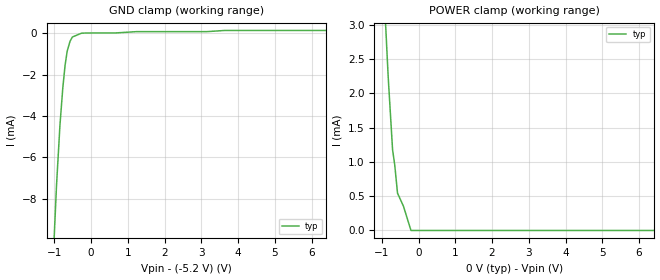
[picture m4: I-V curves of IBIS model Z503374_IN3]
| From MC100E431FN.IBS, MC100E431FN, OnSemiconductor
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| (C) COPYRIGHT 1993-2000
| MENTOR GRAPHICS CORPORATION
| ICX STANDARD LIBRARY, ICX PROJECT MODELING,
| ICX CUSTOM MODELING, ICX VENDOR MODEL
| ALL RIGHTS RESERVED.
| THE FOLLOWING ARE TRADEMARKS OR SERVICE MARKS OF
| MENTOR GRAPHICS CORPORATION:ICX (R), ICX STANDARD
| LIBRARY(R), ICX PROJECT MODELING(R), ICX CUSTOM
| MODELING(R), qualityIBIS(TM), MODELVIEWER(TM),
| AND MODELEDITOR(TM)
| ALL COPIES OF SOFTWARE, INCLUDING BUT NOT LIMITED TO
| ANY MODIFICATIONS, ENHANCEMENTS OR DERIVATIVE WORKS,
| MUST CONTAIN ALL MENTOR GRAPHICS CORPORATION'S
| NOTICES AND LEGENDS, INCLUDING THOSE EMBEDDED IN
| SOFTWARE AND THOSE AFFIXED TO SOFTWARE MEDIUM
| AND CONTAINER, AS RECEIVED FROM MENTOR GRAPHICS
| CORPORATION.
| Model Application Version 1.89 2/18/99.
[Model] Z503374_IN3
Model_type Input_ECL
Vinl = -1.475V
Vinh = -1.165V
C_comp 4.000pF NA NA
| variable typ   min   max
[Voltage Range] -5.200V NA NA
[GND Clamp Reference] -5.200V NA NA
[POWER Clamp Reference] 0.000V NA NA
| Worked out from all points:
|   GND clamp passes 1 mA (typ) near -0.66 V on its own axis
|   POWER clamp passes 1 mA (typ) near -0.66 V on its own axis
[GND Clamp]
-5.2V     -299.5mA   NA         NA
-1.035V   -11.19mA   NA         NA
-938mV    -7.349mA   NA         NA
-844mV    -4.413mA   NA         NA
-767mV    -2.629mA   NA         NA
-705mV    -1.535mA   NA         NA
-648mV    -851.9uA   NA         NA
-570mV    -375.2uA   NA         NA
-507mV    -170.6uA   NA         NA
-253.5mV  18.48uA    NA         NA
3.634V    146.8uA    NA         NA
10.4V     146.8uA    NA         NA
[POWER Clamp]
-5.2V     71.58mA    NA         NA
-1.005V   4.204mA    NA         NA
-825.3mV  2.24mA     NA         NA
-705.2mV  1.174mA    NA         NA
-646.5mV  954.2uA    NA         NA
-570.9mV  542.7uA    NA         NA
-410.1mV  354.3uA    NA         NA
-205.1mV  0A         NA         NA
10.4V     0A         NA         NA
